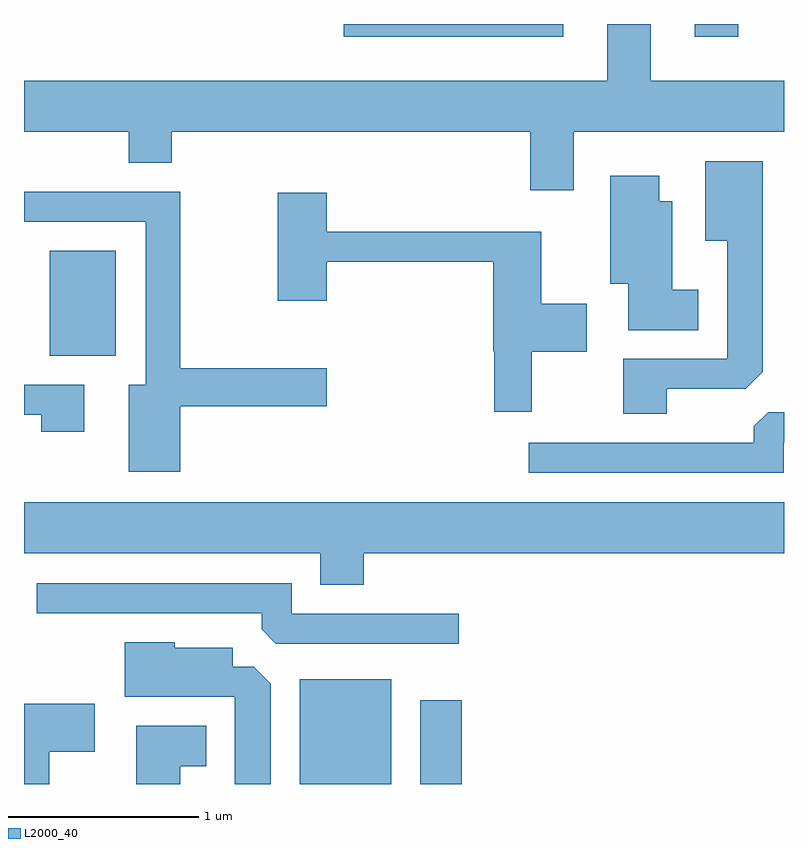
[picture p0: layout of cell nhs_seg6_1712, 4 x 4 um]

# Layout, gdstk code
import gdstk
lib = gdstk.Library(unit=1e-6, precision=1e-09)
def R(c, l, rs):  # rectangles x0, y0, x1, y1
    for r in rs: c.add(gdstk.rectangle(r[:2], r[2:], *l))
def P(c, l, *ps):  # polygons
    for p in ps: c.add(gdstk.Polygon(p, *l))
L2000_40 = (2000, 40)

nhs_seg6_1712 = lib.new_cell('nhs_seg6_1712')
R(nhs_seg6_1712, L2000_40, [(239.061,1542.162,239.544,1542.714), (239.696,1542.162,239.914,1542.604), (237.746,1544.416,238.094,1544.969), (239.293,1546.096,240.449,1546.162), (241.141,1546.096,241.369,1546.162)])
P(nhs_seg6_1712, L2000_40, [(240.504,1545.596),(241.611,1545.596),(241.611,1545.864),(240.909,1545.864),(240.909,1546.162),(240.681,1546.162),(240.681,1545.864),(237.611,1545.864),(237.611,1545.596),(238.161,1545.596),(238.161,1545.431),(238.389,1545.431),(238.389,1545.596),(240.276,1545.596),(240.276,1545.286),(240.504,1545.286)],
  [(240.994,1544.241),(241.409,1544.241),(241.499,1544.332),(241.499,1545.439),(241.196,1545.439),(241.196,1545.021),(241.311,1545.021),(241.311,1544.399),(240.766,1544.399),(240.766,1544.111),(240.994,1544.111)],
  [(241.159,1544.764),(241.024,1544.764),(241.024,1545.229),(240.954,1545.229),(240.954,1545.364),(240.696,1545.364),(240.696,1544.796),(240.791,1544.796),(240.791,1544.551),(241.159,1544.551)],
  [(238.434,1544.151),(239.204,1544.151),(239.204,1544.349),(238.434,1544.349),(238.434,1545.279),(237.611,1545.279),(237.611,1545.121),(238.251,1545.121),(238.251,1544.264),(238.161,1544.264),(238.161,1543.806),(238.434,1543.806)],
  [(240.284,1544.436),(240.574,1544.436),(240.574,1544.689),(240.334,1544.689),(240.334,1545.069),(239.204,1545.069),(239.204,1545.274),(238.946,1545.274),(238.946,1544.706),(239.204,1544.706),(239.204,1544.911),(240.081,1544.911),(240.081,1544.44),(240.086,1544.44),(240.086,1544.121),(240.284,1544.121)],
  [(237.929,1544.264),(237.611,1544.264),(237.611,1544.106),(237.701,1544.106),(237.701,1544.016),(237.929,1544.016)],
  [(241.609,1543.961),(241.611,1543.961),(241.611,1544.119),(241.527,1544.119),(241.451,1544.044),(241.451,1543.959),(240.268,1543.959),(240.268,1543.801),(241.609,1543.801)],
  [(239.399,1543.376),(241.611,1543.376),(241.611,1543.644),(237.611,1543.644),(237.611,1543.376),(239.171,1543.376),(239.171,1543.211),(239.399,1543.211)],
  [(239.898,1543.059),(239.019,1543.059),(239.019,1543.219),(237.678,1543.219),(237.678,1543.061),(238.861,1543.061),(238.861,1542.977),(238.937,1542.901),(239.898,1542.901)],
  [(238.909,1542.689),(238.819,1542.779),(238.709,1542.779),(238.709,1542.879),(238.404,1542.879),(238.404,1542.909),(238.141,1542.909),(238.141,1542.621),(238.721,1542.621),(238.721,1542.162),(238.909,1542.162)],
  [(237.744,1542.331),(237.984,1542.331),(237.984,1542.584),(237.611,1542.584),(237.611,1542.162),(237.744,1542.162)],
  [(238.434,1542.256),(238.569,1542.256),(238.569,1542.469),(238.201,1542.469),(238.201,1542.162),(238.434,1542.162)])

lib.write_gds('nhs_seg6_1712.gds')
